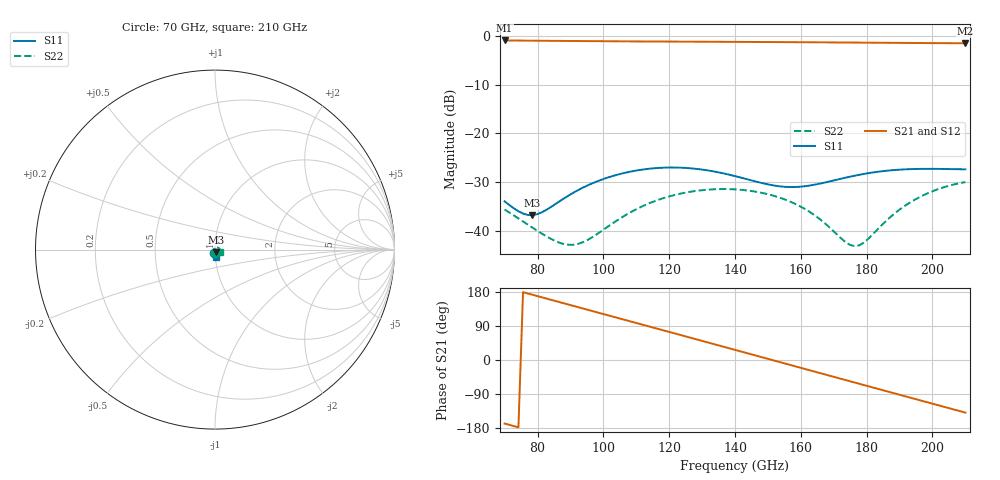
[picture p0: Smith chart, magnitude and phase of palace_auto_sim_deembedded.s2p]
! Created with skrf 1.11.0 (http://scikit-rf.org).
# GHz S DB R 50.0
!freq dBS11 angS11 dBS21 angS21 dBS12 angS12 dBS22 angS22
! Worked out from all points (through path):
!   101 points, 70 GHz to 210 GHz, reference 50 ohm
!   highest |S21| = -0.90 dB at 70 GHz (marker M1); lowest = -1.5 dB at 210 GHz (marker M2)
!   group delay of S21, straight-line fit = 6.57 ps
!   lowest |S11| = -36.8 dB at 78.4 GHz (marker M3), VSWR 1.03, Z = 50.5 - j1.37 ohm
!   |S11| at or under -10 dB: start of sweep to end of sweep
!   |S22| runs from -43.2 to -30.0 dB; largest |S21 - S12| = 1.5e-13
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70  -33.97 -99.6  -0.90 -167.7  -0.90 -167.7  -35.66 -88.1
74.2  -36.02 -88.6  -0.93 -177.7  -0.93 -177.7  -37.49 -85.5
78.4  -36.82 -70.0  -0.95 172.4  -0.95 172.4  -39.36 -80.0
86.8  -33.93 -44.7  -0.99 152.5  -0.99 152.5  -42.52 -56.4
91  -32.17 -42.5  -1.01 142.5  -1.01 142.5  -42.90 -38.1
93.8  -31.16 -43.2  -1.03 135.9  -1.03 135.9  -42.38 -26.1
100.8  -29.21 -48.5  -1.06 119.4  -1.06 119.4  -39.44 -8.1
106.4  -28.14 -54.7  -1.09 106.2  -1.09 106.2  -36.95 -5.5
112  -27.44 -61.9  -1.11 93.0  -1.11 93.0  -34.95 -9.0
117.6  -27.08 -69.3  -1.13 79.8  -1.13 79.8  -33.46 -15.7
128.8  -27.34 -83.3  -1.16 53.3  -1.16 53.3  -31.78 -34.2
140  -28.79 -91.8  -1.19 26.8  -1.19 26.8  -31.52 -56.7
145.6  -29.78 -92.0  -1.21 13.5  -1.21 13.5  -31.92 -69.3
151.2  -30.65 -88.4  -1.23 0.2  -1.23 0.2  -32.73 -83.1
156.8  -31.04 -81.9  -1.25 -13.1  -1.25 -13.1  -34.04 -98.6
163.8  -30.60 -73.6  -1.28 -29.7  -1.28 -29.7  -36.65 -122.3
173.6  -29.11 -69.3  -1.33 -52.9  -1.33 -52.9  -42.37 177.1
176.4  -28.70 -69.6  -1.34 -59.5  -1.34 -59.5  -43.20 146.5
179.2  -28.34 -70.3  -1.35 -66.2  -1.35 -66.2  -42.44 115.2
187.6  -27.59 -74.0  -1.39 -86.0  -1.39 -86.0  -36.98 56.8
198.8  -27.30 -79.0  -1.44 -112.5  -1.44 -112.5  -32.25 14.0
210  -27.40 -81.1  -1.48 -138.8  -1.48 -138.8  -30.03 -22.3
